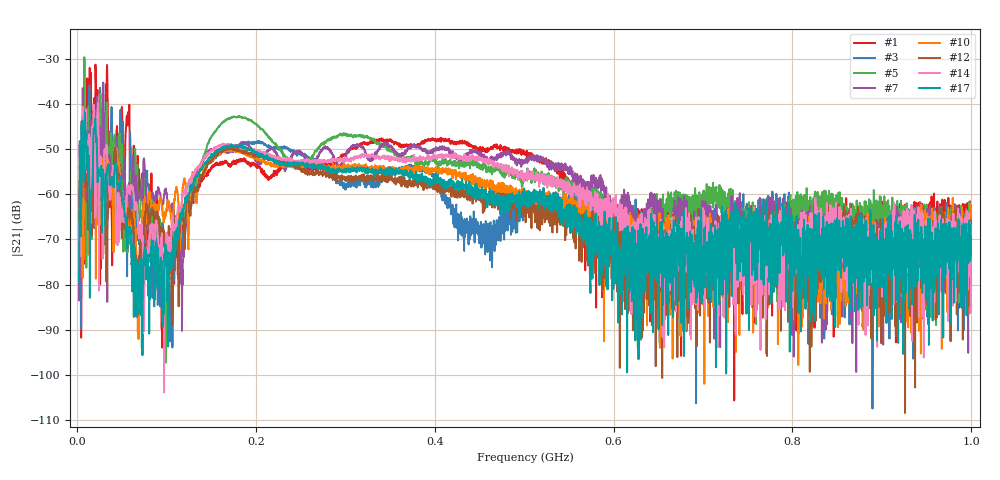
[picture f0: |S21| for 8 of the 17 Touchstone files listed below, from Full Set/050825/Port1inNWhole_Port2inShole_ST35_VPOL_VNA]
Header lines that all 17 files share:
!Keysight Technologies N9923A: A.12.45
!Timezone: (UTC+08:00) Kuala Lumpur, Singapore
!Model: N9923A
!Serial: MY61181427
!GPS Latitude:
!GPS Longitude:
!GPS TimeStamp: 0001-01-01 00:00:00Z
!GPS Seconds Since Last Read: 0
!Correction: S11(ON U)S21(ON U)S12(ON U)S22(ON U)
!S2P File: Measurements:S11,S21,S12,S22:
# Hz S DB R 50
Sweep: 2 MHz to 1 GHz
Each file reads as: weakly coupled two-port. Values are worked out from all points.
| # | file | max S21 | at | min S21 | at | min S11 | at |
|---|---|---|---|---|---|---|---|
| 1 | Aug4_vpol_down_2m.s2p | -31.22 dB | 20.46 MHz | -105.7 dB | 735 MHz | -37.5 dB | 181.6 MHz |
| 2 | Aug4_vpol_down_3m.s2p | -29.39 dB | 13.98 MHz | -99.4 dB | 952.8 MHz | -38.7 dB | 178.4 MHz |
| 3 | Aug4_vpol_down_4m.s2p | -35.28 dB | 29.2 MHz | -107.5 dB | 889.7 MHz | -39.4 dB | 181.6 MHz |
| 4 | Aug4_vpol_down_5m.s2p | -38.59 dB | 12.23 MHz | -110.5 dB | 657.2 MHz | -44.8 dB | 183.1 MHz |
| 5 | Aug4_vpol_down_7m.s2p | -29.60 dB | 7.988 MHz | -97.3 dB | 99.31 MHz | -37.1 dB | 178.4 MHz |
| 6 | Aug4_vpol_down_12m.s2p | -38.69 dB | 43.92 MHz | -102.2 dB | 925.6 MHz | -44.3 dB | 178.4 MHz |
| 7 | Aug4_vpol_down_13m.s2p | -35.19 dB | 29.2 MHz | -99.4 dB | 871.5 MHz | -48.6 dB | 178.4 MHz |
| 8 | Aug4_vpol_down_19m.s2p | -36.19 dB | 10.23 MHz | -103.9 dB | 888.7 MHz | -50.4 dB | 454.8 MHz |
| 9 | Aug4_vpol_down_20m.s2p | -34.98 dB | 8.736 MHz | -100.2 dB | 930.9 MHz | -46.8 dB | 444.9 MHz |
| 10 | Aug4_vpol_down_25m.s2p | -41.87 dB | 7.988 MHz | -102.0 dB | 701.6 MHz | -50.2 dB | 461.6 MHz |
| 11 | Aug4_vpol_down_26m.s2p | -43.43 dB | 17.72 MHz | -103.8 dB | 810.1 MHz | -48.2 dB | 461.6 MHz |
| 12 | Aug4_vpol_down_29m.s2p | -42.58 dB | 6.99 MHz | -108.5 dB | 926.1 MHz | -48.9 dB | 183.1 MHz |
| 13 | Aug4_vpol_down_30m.s2p | -41.26 dB | 6.74 MHz | -100.0 dB | 936.1 MHz | -46.2 dB | 183.1 MHz |
| 14 | Aug4_vpol_down_32m.s2p | -39.78 dB | 23.21 MHz | -103.9 dB | 97.31 MHz | -43.3 dB | 186.4 MHz |
| 15 | Aug4_vpol_down_33m.s2p | -40.87 dB | 18.72 MHz | -102.5 dB | 721.6 MHz | -42.9 dB | 178.4 MHz |
| 16 | Aug4_vpol_down_34m.s2p | -42.09 dB | 8.736 MHz | -108.5 dB | 692.4 MHz | -42.1 dB | 176.7 MHz |
| 17 | Aug4_vpol_down_35m.s2p | -41.86 dB | 8.736 MHz | -99.8 dB | 726 MHz | -42.8 dB | 186.4 MHz |
